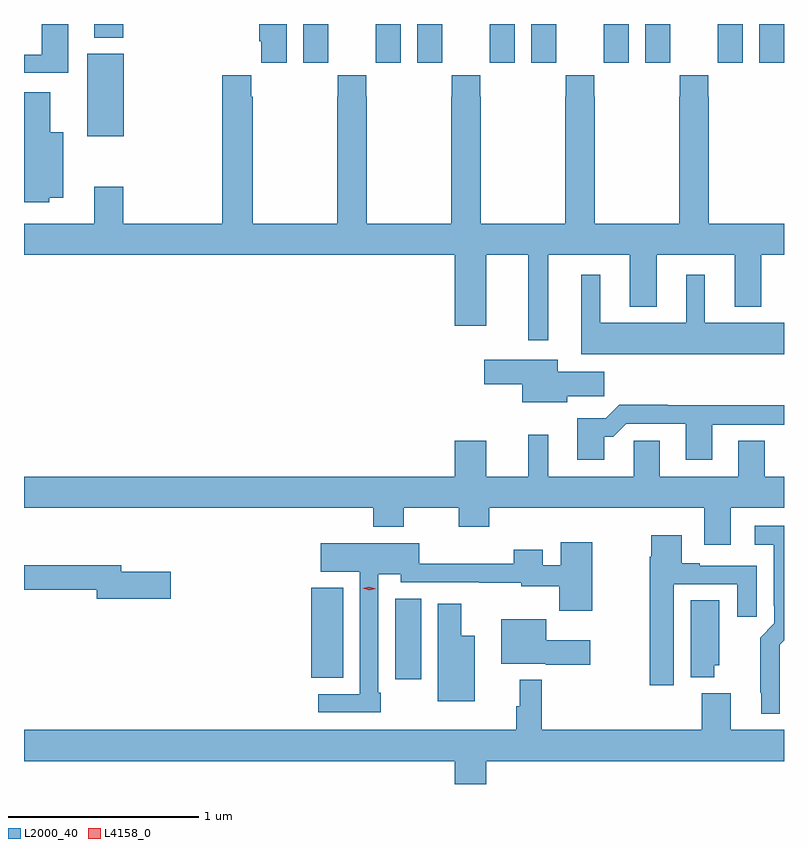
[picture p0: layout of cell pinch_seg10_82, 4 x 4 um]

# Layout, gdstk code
import gdstk
lib = gdstk.Library(unit=1e-6, precision=1e-09)
def R(c, l, rs):  # rectangles x0, y0, x1, y1
    for r in rs: c.add(gdstk.rectangle(r[:2], r[2:], *l))
def P(c, l, *ps):  # polygons
    for p in ps: c.add(gdstk.Polygon(p, *l))
L2000_40 = (2000, 40)
L4158_0 = (4158, 0)

pinch_seg10_82 = lib.new_cell('pinch_seg10_82')
R(pinch_seg10_82, L2000_40, [(752.105,1303.41,752.242,1303.835), (751.664,1303.417,751.831,1303.891), (750.485,1306.268,750.676,1306.702), (754.022,1306.656,754.152,1306.859), (750.521,1306.787,750.674,1306.859)])
P(pinch_seg10_82, L2000_40, [(753.334,1306.859),(753.203,1306.859),(753.203,1306.768),(753.204,1306.768),(753.204,1306.656),(753.334,1306.656)],
  [(752.134,1306.859),(752.003,1306.859),(752.003,1306.768),(752.004,1306.768),(752.004,1306.656),(752.134,1306.656)],
  [(751.752,1306.768),(751.753,1306.768),(751.753,1306.859),(751.622,1306.859),(751.622,1306.656),(751.752,1306.656)],
  [(751.534,1306.859),(751.391,1306.859),(751.391,1306.768),(751.4,1306.768),(751.4,1306.656),(751.534,1306.656)],
  [(752.352,1306.768),(752.353,1306.768),(752.353,1306.859),(752.222,1306.859),(752.222,1306.656),(752.352,1306.656)],
  [(752.734,1306.859),(752.603,1306.859),(752.603,1306.768),(752.604,1306.768),(752.604,1306.656),(752.734,1306.656)],
  [(752.952,1306.768),(752.953,1306.768),(752.953,1306.859),(752.822,1306.859),(752.822,1306.656),(752.952,1306.656)],
  [(750.385,1306.859),(750.245,1306.859),(750.245,1306.698),(750.152,1306.698),(750.152,1306.602),(750.385,1306.602)],
  [(753.934,1306.859),(753.803,1306.859),(753.803,1306.768),(753.804,1306.768),(753.804,1306.656),(753.934,1306.656)],
  [(753.552,1306.768),(753.553,1306.768),(753.553,1306.859),(753.422,1306.859),(753.422,1306.656),(753.552,1306.656)],
  [(750.285,1305.944),(750.358,1305.944),(750.358,1306.288),(750.289,1306.288),(750.289,1306.501),(750.152,1306.501),(750.152,1305.92),(750.285,1305.92)],
  [(753.603,1306.588),(753.603,1306.475),(753.601,1306.475),(753.601,1305.808),(753.156,1305.808),(753.156,1306.475),(753.153,1306.475),(753.153,1306.588),(753.003,1306.588),(753.003,1306.475),(753.001,1306.475),(753.001,1305.808),(752.556,1305.808),(752.556,1306.475),(752.553,1306.475),(752.553,1306.588),(752.403,1306.588),(752.403,1306.475),(752.401,1306.475),(752.401,1305.808),(751.956,1305.808),(751.956,1306.475),(751.953,1306.475),(751.953,1306.588),(751.803,1306.588),(751.803,1306.475),(751.801,1306.475),(751.801,1305.808),(751.356,1305.808),(751.356,1306.475),(751.349,1306.475),(751.349,1306.588),(751.196,1306.588),(751.196,1305.808),(750.674,1305.808),(750.674,1306.003),(750.521,1306.003),(750.521,1305.808),(750.152,1305.808),(750.152,1305.644),(752.42,1305.644),(752.42,1305.27),(752.584,1305.27),(752.584,1305.644),(752.807,1305.644),(752.807,1305.195),(752.911,1305.195),(752.911,1305.644),(753.341,1305.644),(753.341,1305.371),(753.481,1305.371),(753.481,1305.644),(753.893,1305.644),(753.893,1305.371),(754.033,1305.371),(754.033,1305.644),(754.152,1305.644),(754.152,1305.808),(753.756,1305.808),(753.756,1306.475),(753.753,1306.475),(753.753,1306.588)],
  [(754.152,1305.286),(753.736,1305.286),(753.736,1305.538),(753.638,1305.538),(753.638,1305.286),(753.184,1305.286),(753.184,1305.538),(753.086,1305.538),(753.086,1305.122),(754.152,1305.122)],
  [(753.01,1304.899),(753.205,1304.899),(753.205,1305.028),(752.962,1305.028),(752.962,1305.091),(752.574,1305.091),(752.574,1304.962),(752.774,1304.962),(752.774,1304.867),(753.01,1304.867)],
  [(753.205,1304.687),(753.254,1304.687),(753.321,1304.754),(753.635,1304.754),(753.635,1304.565),(753.775,1304.565),(753.775,1304.751),(754.152,1304.751),(754.152,1304.852),(753.539,1304.852),(753.539,1304.855),(753.284,1304.855),(753.214,1304.785),(753.065,1304.785),(753.065,1304.565),(753.205,1304.565)],
  [(753.871,1304.312),(754.152,1304.312),(754.152,1304.476),(754.051,1304.476),(754.051,1304.666),(753.911,1304.666),(753.911,1304.476),(753.499,1304.476),(753.499,1304.666),(753.36,1304.666),(753.36,1304.476),(752.911,1304.476),(752.911,1304.698),(752.807,1304.698),(752.807,1304.476),(752.584,1304.476),(752.584,1304.665),(752.42,1304.665),(752.42,1304.476),(750.152,1304.476),(750.152,1304.312),(751.991,1304.312),(751.991,1304.213),(752.151,1304.213),(752.151,1304.312),(752.44,1304.312),(752.44,1304.213),(752.6,1304.213),(752.6,1304.312),(753.731,1304.312),(753.731,1304.118),(753.871,1304.118)],
  [(754.129,1303.592),(754.152,1303.615),(754.152,1304.218),(753.999,1304.218),(753.999,1304.117),(754.097,1304.117),(754.097,1303.798),(754.101,1303.798),(754.101,1303.704),(754.027,1303.63),(754.027,1303.339),(754.031,1303.339),(754.031,1303.229),(754.129,1303.229)],
  [(753.571,1303.911),(753.905,1303.911),(753.905,1303.74),(754.009,1303.74),(754.009,1304.007),(753.709,1304.007),(753.709,1304.02),(753.613,1304.02),(753.613,1304.167),(753.452,1304.167),(753.452,1304.054),(753.445,1304.054),(753.445,1303.38),(753.571,1303.38)],
  [(752.029,1303.339),(752.016,1303.339),(752.016,1303.964),(752.136,1303.964),(752.136,1303.92),(752.548,1303.92),(752.548,1303.919),(752.769,1303.919),(752.769,1303.901),(752.968,1303.901),(752.968,1303.77),(753.144,1303.77),(753.144,1304.131),(752.978,1304.131),(752.978,1304.011),(752.881,1304.011),(752.881,1304.092),(752.729,1304.092),(752.729,1304.018),(752.232,1304.018),(752.232,1304.125),(751.713,1304.125),(751.713,1303.976),(751.92,1303.976),(751.92,1303.332),(751.701,1303.332),(751.701,1303.236),(752.029,1303.236)],
  [(750.925,1303.977),(750.664,1303.977),(750.664,1304.011),(750.152,1304.011),(750.152,1303.882),(750.536,1303.882),(750.536,1303.835),(750.925,1303.835)],
  [(753.784,1303.485),(753.811,1303.485),(753.811,1303.826),(753.662,1303.826),(753.662,1303.421),(753.784,1303.421)],
  [(752.524,1303.639),(752.452,1303.639),(752.452,1303.807),(752.33,1303.807),(752.33,1303.295),(752.524,1303.295)],
  [(753.133,1303.615),(752.9,1303.615),(752.9,1303.725),(752.663,1303.725),(752.663,1303.493),(752.898,1303.493),(752.898,1303.486),(753.133,1303.486)],
  [(752.584,1302.98),(754.152,1302.98),(754.152,1303.144),(753.871,1303.144),(753.871,1303.336),(753.719,1303.336),(753.719,1303.144),(752.878,1303.144),(752.878,1303.408),(752.761,1303.408),(752.761,1303.268),(752.743,1303.268),(752.743,1303.144),(750.152,1303.144),(750.152,1302.98),(752.42,1302.98),(752.42,1302.859),(752.584,1302.859)])
P(pinch_seg10_82, L4158_0, [(751.968,1303.878),(751.934,1303.889),(751.934,1303.889),(751.934,1303.889),(751.969,1303.898),(752.004,1303.887),(752.004,1303.887),(752.004,1303.886)])

lib.write_gds('pinch_seg10_82.gds')
